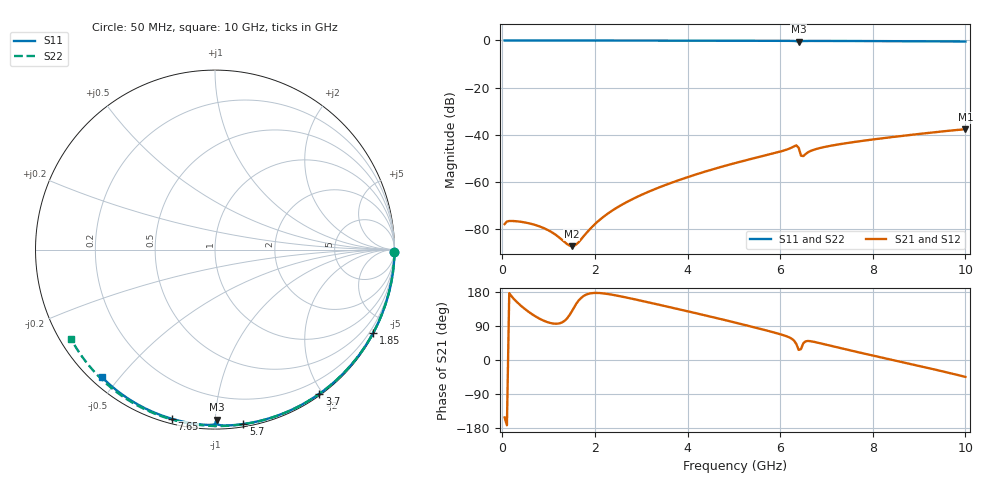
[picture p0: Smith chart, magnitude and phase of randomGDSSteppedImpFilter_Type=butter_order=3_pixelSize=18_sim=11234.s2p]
! freq	dB(S11)	phase(S11)	dB(S12)	phase(S12)
!  dB(S21)	phase(S21)	dB(S22)	phase(S22)
!S-par simulation data
#  GHz  S  DB  R 50
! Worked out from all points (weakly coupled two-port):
!   200 points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, 50 MHz to 10 GHz, reference 50 ohm
!   highest |S21| = -37.69 dB at 10 GHz (marker M1); lowest = -87.4 dB at 1.5 GHz (marker M2)
!   lowest |S11| = -0.5 dB at 6.4 GHz (marker M3), VSWR 37.25, Z = 2.71 - j50.4 ohm
!   |S11| at or under -10 dB: nowhere
!   |S22| runs from -0.5 to 0.0 dB; largest |S21 - S12| = 0
!   S11 on the Smith chart (normalised r, x): 50 MHz: open; 1.85 GHz: 0.04, -4.06; 3.7 GHz: 0.02, -1.96; 5.7 GHz: 0.02, -1.18; 7.65 GHz: 0.02, -0.78; 10 GHz: 0.03, -0.45
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0.05  -0.00 -0.8  -78.02 -151.7  -78.02 -151.7  -0.00 -0.9
0.1  -0.00 -1.5  -76.91 -172.3  -76.91 -172.3  -0.00 -1.7
0.25  -0.00 -3.8  -76.71 161.1  -76.71 161.1  -0.00 -4.3
0.95  -0.02 -14.3  -80.20 101.0  -80.20 101.0  -0.02 -16.2
1.5  -0.03 -22.5  -87.38 128.1  -87.38 128.1  -0.03 -25.3
1.75  -0.03 -26.2  -83.33 168.5  -83.33 168.5  -0.04 -29.5
1.85  -0.04 -27.7  -81.04 174.3  -81.04 174.3  -0.04 -31.1
1.9  -0.04 -28.4  -79.97 175.8  -79.97 175.8  -0.04 -32.0
2.2  -0.04 -32.8  -74.68 175.5  -74.68 175.5  -0.05 -36.9
2.55  -0.05 -37.9  -70.14 168.2  -70.14 168.2  -0.05 -42.5
3.4  -0.07 -49.9  -62.32 145.4  -62.32 145.4  -0.07 -56.0
3.7  -0.07 -54.1  -60.11 137.1  -60.11 137.1  -0.08 -60.7
5.05  -0.11 -72.3  -51.97 98.1  -51.97 98.1  -0.12 -80.9
5.7  -0.13 -80.7  -48.74 78.1  -48.74 78.1  -0.15 -90.3
6.35  -0.32 -89.9  -44.56 42.0  -44.56 42.0  -0.18 -99.4
6.4  -0.47 -89.5  -45.59 26.6  -45.59 26.6  -0.18 -100.1
6.45  -0.34 -89.1  -48.92 28.9  -48.92 28.9  -0.19 -100.8
6.5  -0.25 -89.8  -49.13 44.3  -49.13 44.3  -0.19 -101.5
6.7  -0.20 -92.7  -46.62 48.6  -46.62 48.6  -0.20 -104.2
7.65  -0.24 -104.4  -42.99 21.5  -42.99 21.5  -0.27 -117.1
8.35  -0.29 -112.6  -41.20 2.1  -41.20 2.1  -0.32 -126.4
10  -0.45 -131.4  -37.69 -44.6  -37.69 -44.6  -0.50 -148.3
